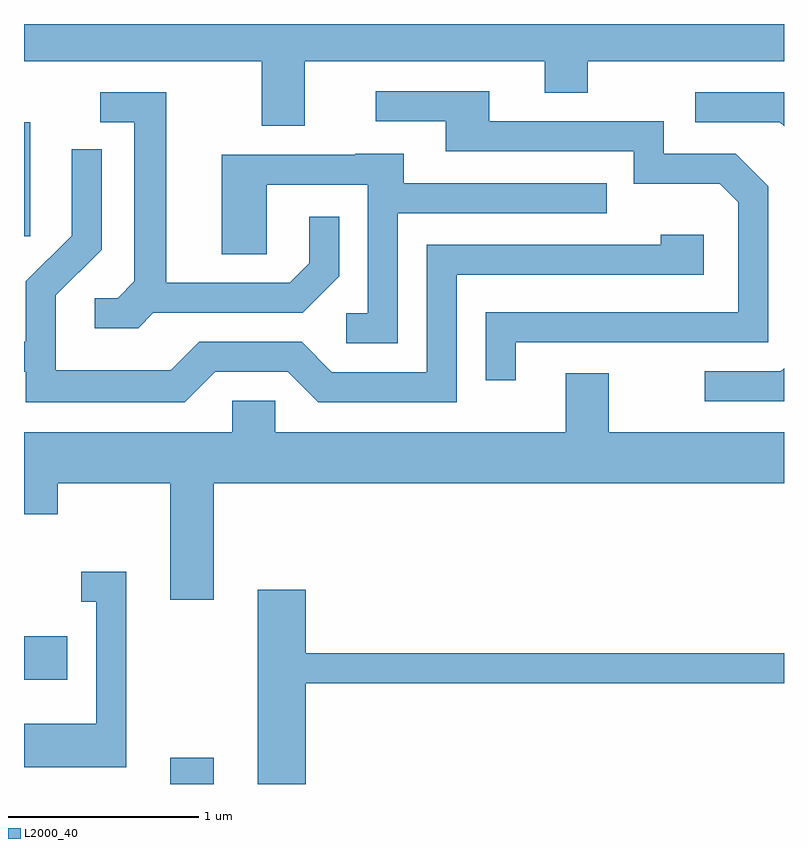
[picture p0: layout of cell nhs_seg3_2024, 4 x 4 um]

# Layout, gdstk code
import gdstk
lib = gdstk.Library(unit=1e-6, precision=1e-09)
def R(c, l, rs):  # rectangles x0, y0, x1, y1
    for r in rs: c.add(gdstk.rectangle(r[:2], r[2:], *l))
def P(c, l, *ps):  # polygons
    for p in ps: c.add(gdstk.Polygon(p, *l))
L2000_40 = (2000, 40)

nhs_seg3_2024 = lib.new_cell('nhs_seg3_2024')
R(nhs_seg3_2024, L2000_40, [(244.381,1219.892,244.609,1220.029), (243.611,1220.441,243.839,1220.669), (243.611,1222.776,243.644,1223.374)])
P(nhs_seg3_2024, L2000_40, [(245.089,1223.696),(246.351,1223.696),(246.351,1223.531),(246.579,1223.531),(246.579,1223.696),(247.611,1223.696),(247.611,1223.892),(243.611,1223.892),(243.611,1223.696),(244.861,1223.696),(244.861,1223.356),(245.089,1223.356)],
  [(246.199,1222.216),(247.529,1222.216),(247.529,1223.037),(247.357,1223.209),(246.979,1223.209),(246.979,1223.379),(246.059,1223.379),(246.059,1223.539),(245.463,1223.539),(245.463,1223.381),(245.831,1223.381),(245.831,1223.221),(246.821,1223.221),(246.821,1223.051),(247.274,1223.051),(247.371,1222.954),(247.371,1222.374),(246.041,1222.374),(246.041,1222.018),(246.199,1222.018)],
  [(247.611,1223.534),(247.143,1223.534),(247.143,1223.376),(247.589,1223.376),(247.611,1223.354)],
  [(244.292,1222.371),(245.077,1222.371),(245.269,1222.564),(245.269,1222.878),(245.111,1222.878),(245.111,1222.632),(245.009,1222.529),(244.359,1222.529),(244.359,1223.534),(244.013,1223.534),(244.013,1223.376),(244.191,1223.376),(244.191,1222.537),(244.104,1222.449),(243.983,1222.449),(243.983,1222.291),(244.212,1222.291)],
  [(244.617,1222.061),(244.999,1222.061),(245.159,1221.901),(245.889,1221.901),(245.889,1222.571),(247.189,1222.571),(247.189,1222.784),(246.961,1222.784),(246.961,1222.729),(245.731,1222.729),(245.731,1222.059),(245.232,1222.059),(245.072,1222.219),(244.534,1222.219),(244.384,1222.069),(243.779,1222.069),(243.779,1222.464),(244.019,1222.704),(244.019,1223.233),(243.861,1223.233),(243.861,1222.777),(243.621,1222.537),(243.621,1222.219),(243.611,1222.219),(243.611,1222.061),(243.621,1222.061),(243.621,1221.901),(244.457,1221.901)],
  [(245.579,1222.896),(246.678,1222.896),(246.678,1223.054),(245.609,1223.054),(245.609,1223.209),(245.355,1223.209),(245.355,1223.204),(244.651,1223.204),(244.651,1222.681),(244.889,1222.681),(244.889,1223.046),(245.421,1223.046),(245.421,1222.369),(245.308,1222.369),(245.308,1222.211),(245.579,1222.211)],
  [(247.611,1222.081),(247.594,1222.064),(247.193,1222.064),(247.193,1221.906),(247.611,1221.906)],
  [(244.609,1221.476),(247.611,1221.476),(247.611,1221.744),(246.689,1221.744),(246.689,1222.054),(246.461,1222.054),(246.461,1221.744),(244.934,1221.744),(244.934,1221.909),(244.706,1221.909),(244.706,1221.744),(243.611,1221.744),(243.611,1221.311),(243.789,1221.311),(243.789,1221.476),(244.381,1221.476),(244.381,1220.861),(244.609,1220.861)],
  [(244.149,1221.009),(243.913,1221.009),(243.913,1220.851),(243.991,1220.851),(243.991,1220.209),(243.611,1220.209),(243.611,1219.981),(244.149,1219.981)],
  [(245.094,1220.421),(247.611,1220.421),(247.611,1220.579),(245.094,1220.579),(245.094,1220.914),(244.841,1220.914),(244.841,1219.892),(245.094,1219.892)])

lib.write_gds('nhs_seg3_2024.gds')
